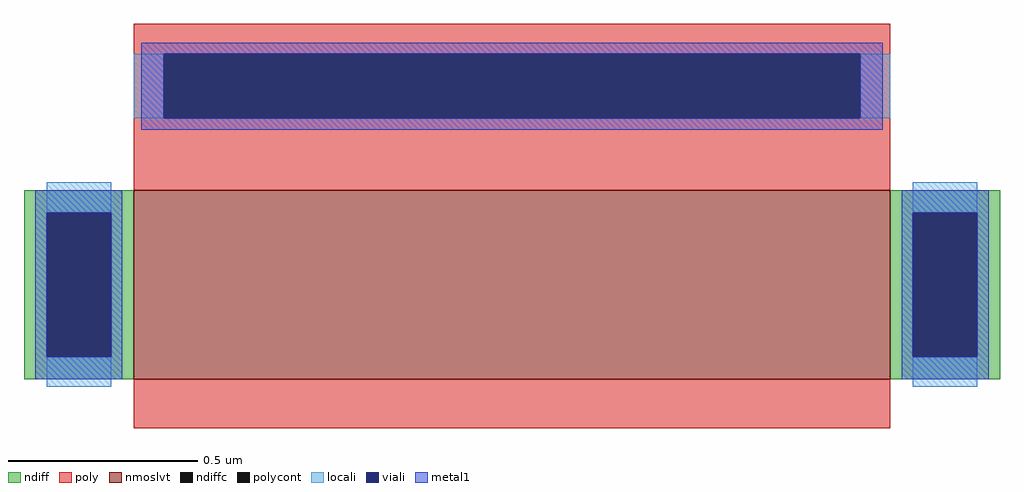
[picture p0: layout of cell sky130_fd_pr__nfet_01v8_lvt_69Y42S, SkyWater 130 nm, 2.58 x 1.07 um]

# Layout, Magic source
magic
tech sky130A
magscale 1 2
<< nmoslvt >>
rect -200 -81 200 19
<< ndiff >>
rect -258 7 -200 19
rect -258 -69 -246 7
rect -212 -69 -200 7
rect -258 -81 -200 -69
rect 200 7 258 19
rect 200 -69 212 7
rect 246 -69 258 7
rect 200 -81 258 -69
<< ndiffc >>
rect -246 -69 -212 7
rect 212 -69 246 7
<< poly >>
rect -200 91 200 107
rect -200 57 -184 91
rect 184 57 200 91
rect -200 19 200 57
rect -200 -107 200 -81
<< polycont >>
rect -184 57 184 91
<< locali >>
rect -200 57 -184 91
rect 184 57 200 91
rect -246 7 -212 23
rect -246 -85 -212 -69
rect 212 7 246 23
rect 212 -85 246 -69
<< viali >>
rect -184 57 184 91
rect -246 -69 -212 7
rect 212 -69 246 7
<< metal1 >>
rect -196 91 196 97
rect -196 57 -184 91
rect 184 57 196 91
rect -196 51 196 57
rect -252 7 -206 19
rect -252 -69 -246 7
rect -212 -69 -206 7
rect -252 -81 -206 -69
rect 206 7 252 19
rect 206 -69 212 7
rect 246 -69 252 7
rect 206 -81 252 -69
<< properties >>
string gencell sky130_fd_pr__nfet_01v8_lvt
string library sky130
string parameters w 0.5 l 2.0 m 1 nf 1 diffcov 100 polycov 100 guard 0 glc 1 grc 1 gtc 1 gbc 1 tbcov 100 rlcov 100 topc 1 botc 0 poverlap 0 doverlap 1 lmin 0.15 wmin 0.42 compatible {sky130_fd_pr__nfet_01v8 sky130_fd_pr__nfet_01v8_lvt  sky130_fd_bs_flash__special_sonosfet_star  sky130_fd_pr__nfet_g5v0d10v5 sky130_fd_pr__nfet_05v0_nvt  sky130_fd_pr__nfet_03v3_nvt} full_metal 0 viasrc 100 viadrn 100 viagate 100 viagb 0 viagr 0 viagl 0 viagt 0
<< end >>
